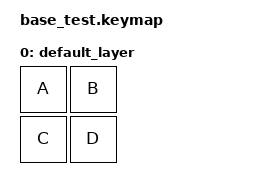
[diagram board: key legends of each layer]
#include <behaviors.dtsi>
#include <dt-bindings/zmk/keys.h>

/ {
    // 1. Tell ZMK which physical pins are your Rows and Columns
    kscan0: kscan {
        compatible = "zmk,kscan-gpio-matrix";
        diode-direction = "col2row"; // Assumes your SOD-123 diodes point from Col to Row

        row-gpios
            = <&xiao_d 0 (GPIO_ACTIVE_HIGH | GPIO_PULL_DOWN)> // Row 0 is Pin D0
            , <&xiao_d 1 (GPIO_ACTIVE_HIGH | GPIO_PULL_DOWN)> // Row 1 is Pin D1
            ;

        col-gpios
            = <&xiao_d 2 GPIO_ACTIVE_HIGH> // Column 0 is Pin D2
            , <&xiao_d 3 GPIO_ACTIVE_HIGH> // Column 1 is Pin D3
            ;
    };

    // 2. Map the electronic grid intersections into a linear sequence
    default_transform: matrix_transform {
        compatible = "zmk,matrix-transform";
        rows = <2>;
        columns = <2>;

        map = <
            RC(0,0) RC(0,1)  // Row 0, Col 0  |  Row 0, Col 1
            RC(1,0) RC(1,1)  // Row 1, Col 0  |  Row 1, Col 1
        >;
    };

    // 3. Assign standard HID keyboard characters to those intersections
    keymap {
        compatible = "zmk,keymap";

        default_layer {
            bindings = <
                &kp A    &kp B
                &kp C    &kp D
            >;
        };
    };

    // Link the hardware definitions to the system core
    chosen {
        zmk,kscan = &kscan0;
        zmk,matrix_transform = &default_transform;
    };
};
